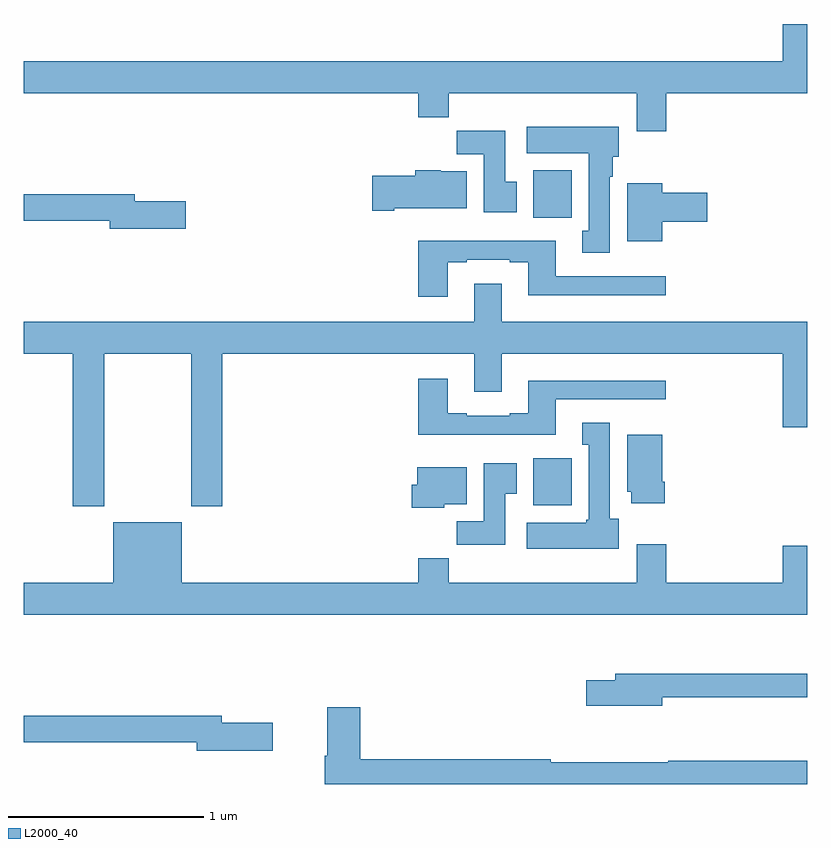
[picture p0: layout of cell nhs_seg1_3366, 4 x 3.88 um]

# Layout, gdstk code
import gdstk
lib = gdstk.Library(unit=1e-6, precision=1e-09)
def R(c, l, rs):  # rectangles x0, y0, x1, y1
    for r in rs: c.add(gdstk.rectangle(r[:2], r[2:], *l))
def P(c, l, *ps):  # polygons
    for p in ps: c.add(gdstk.Polygon(p, *l))
L2000_40 = (2000, 40)

nhs_seg1_3366 = lib.new_cell('nhs_seg1_3366')
R(nhs_seg1_3366, L2000_40, [(295.601,553.622,295.798,553.864), (295.601,555.092,295.798,555.334)])
P(nhs_seg1_3366, L2000_40, [(296.282,555.728),(297,555.728),(297,556.081),(296.876,556.081),(296.876,555.892),(293,555.892),(293,555.728),(295.013,555.728),(295.013,555.604),(295.169,555.604),(295.169,555.728),(296.129,555.728),(296.129,555.534),(296.282,555.534)],
  [(295.993,555.302),(296.008,555.302),(296.008,555.402),(296.038,555.402),(296.038,555.556),(295.569,555.556),(295.569,555.422),(295.886,555.422),(295.886,555.026),(295.853,555.026),(295.853,554.913),(295.993,554.913)],
  [(295.516,555.276),(295.459,555.276),(295.459,555.535),(295.21,555.535),(295.21,555.416),(295.349,555.416),(295.349,555.12),(295.516,555.12)],
  [(294.892,555.14),(295.261,555.14),(295.261,555.328),(295.128,555.328),(295.128,555.334),(294.998,555.334),(294.998,555.306),(294.78,555.306),(294.78,555.128),(294.892,555.128)],
  [(296.26,555.071),(296.491,555.071),(296.491,555.218),(296.26,555.218),(296.26,555.268),(296.081,555.268),(296.081,554.972),(296.26,554.972)],
  [(293.827,555.176),(293.566,555.176),(293.566,555.212),(293,555.212),(293,555.076),(293.438,555.076),(293.438,555.034),(293.827,555.034)],
  [(295.165,554.865),(295.261,554.865),(295.261,554.877),(295.481,554.877),(295.481,554.865),(295.577,554.865),(295.577,554.696),(296.278,554.696),(296.278,554.793),(295.717,554.793),(295.717,554.974),(295.013,554.974),(295.013,554.688),(295.165,554.688)],
  [(293.409,554.396),(293.854,554.396),(293.854,553.617),(294.014,553.617),(294.014,554.396),(295.301,554.396),(295.301,554.202),(295.441,554.202),(295.441,554.396),(296.876,554.396),(296.876,554.022),(297,554.022),(297,554.56),(295.441,554.56),(295.441,554.755),(295.301,554.755),(295.301,554.56),(293,554.56),(293,554.396),(293.249,554.396),(293.249,553.617),(293.409,553.617)],
  [(295.717,554.163),(296.278,554.163),(296.278,554.26),(295.577,554.26),(295.577,554.092),(295.481,554.092),(295.481,554.079),(295.261,554.079),(295.261,554.092),(295.165,554.092),(295.165,554.269),(295.013,554.269),(295.013,553.982),(295.717,553.982)],
  [(296.038,553.554),(295.993,553.554),(295.993,554.044),(295.853,554.044),(295.853,553.931),(295.886,553.931),(295.886,553.548),(295.873,553.548),(295.873,553.534),(295.569,553.534),(295.569,553.4),(296.038,553.4)],
  [(296.273,553.744),(296.26,553.744),(296.26,553.984),(296.081,553.984),(296.081,553.692),(296.102,553.692),(296.102,553.632),(296.273,553.632)],
  [(295.459,553.681),(295.516,553.681),(295.516,553.837),(295.349,553.837),(295.349,553.54),(295.21,553.54),(295.21,553.422),(295.459,553.422)],
  [(295.146,553.628),(295.261,553.628),(295.261,553.816),(295.01,553.816),(295.01,553.728),(294.98,553.728),(294.98,553.61),(295.146,553.61)],
  [(297,553.417),(296.876,553.417),(296.876,553.228),(296.282,553.228),(296.282,553.423),(296.129,553.423),(296.129,553.228),(295.169,553.228),(295.169,553.352),(295.013,553.352),(295.013,553.228),(293.806,553.228),(293.806,553.537),(293.456,553.537),(293.456,553.228),(293,553.228),(293,553.064),(297,553.064)],
  [(296.26,552.642),(297,552.642),(297,552.763),(296.021,552.763),(296.021,552.729),(295.872,552.729),(295.872,552.599),(296.26,552.599)],
  [(297,552.319),(296.29,552.319),(296.29,552.311),(295.69,552.311),(295.69,552.326),(294.719,552.326),(294.719,552.592),(294.548,552.592),(294.548,552.343),(294.536,552.343),(294.536,552.199),(297,552.199)],
  [(294.271,552.512),(294.01,552.512),(294.01,552.548),(293,552.548),(293,552.412),(293.882,552.412),(293.882,552.37),(294.271,552.37)])

lib.write_gds('nhs_seg1_3366.gds')
